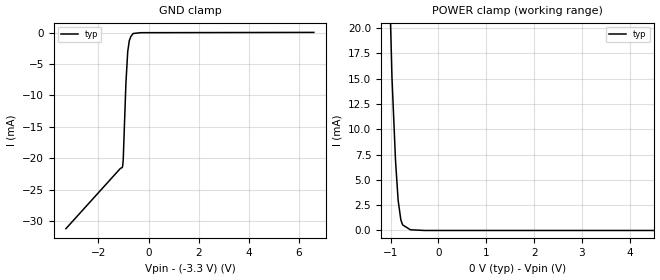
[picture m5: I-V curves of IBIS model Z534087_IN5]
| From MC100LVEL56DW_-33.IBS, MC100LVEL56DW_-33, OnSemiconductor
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| (C) COPYRIGHT 1993-2000
| MENTOR GRAPHICS CORPORATION
| ICX STANDARD LIBRARY, ICX PROJECT MODELING,
| ICX CUSTOM MODELING, ICX VENDOR MODEL
| ALL RIGHTS RESERVED.
| THE FOLLOWING ARE TRADEMARKS OR SERVICE MARKS OF
| MENTOR GRAPHICS CORPORATION:ICX (R), ICX STANDARD
| LIBRARY(R), ICX PROJECT MODELING(R), ICX CUSTOM
| MODELING(R), qualityIBIS(TM), MODELVIEWER(TM),
| AND MODELEDITOR(TM)
| ALL COPIES OF SOFTWARE, INCLUDING BUT NOT LIMITED TO
| ANY MODIFICATIONS, ENHANCEMENTS OR DERIVATIVE WORKS,
| MUST CONTAIN ALL MENTOR GRAPHICS CORPORATION'S
| NOTICES AND LEGENDS, INCLUDING THOSE EMBEDDED IN
| SOFTWARE AND THOSE AFFIXED TO SOFTWARE MEDIUM
| AND CONTAINER, AS RECEIVED FROM MENTOR GRAPHICS
| CORPORATION.
| Model Application Version 1.89 2/18/99.
[Model] Z534087_IN5
Model_type Input_ECL
Vinl = -1.900V
Vinh = -1.600V
C_comp 2.000pF NA NA
| variable typ   min   max
[Voltage Range] -3.300V NA NA
[GND Clamp Reference] -3.300V NA NA
[POWER Clamp Reference] 0.000V NA NA
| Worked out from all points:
|   GND clamp passes 1 mA (typ) near -0.74 V on its own axis
|   POWER clamp passes 1 mA (typ) near -0.78 V on its own axis
[GND Clamp]
-3.3V     -31.18mA   NA         NA
-1.13V    -21.62mA   NA         NA
-1.052V   -21.45mA   NA         NA
-1.032V   -21.17mA   NA         NA
-1.012V   -20.25mA   NA         NA
-905mV    -8.079mA   NA         NA
-832mV    -3.007mA   NA         NA
-770mV    -1.292mA   NA         NA
-712mV    -652.9uA   NA         NA
-615mV    -138.1uA   NA         NA
-307.5mV  -9.57uA    NA         NA
6.6V      35.82uA    NA         NA
[POWER Clamp]
-3.3V     1.138A     NA         NA
-1.112V   53.7mA     NA         NA
-1.021V   24.02mA    NA         NA
-971.7mV  15.2mA     NA         NA
-897.7mV  6.952mA    NA         NA
-842.5mV  2.979mA    NA         NA
-785.3mV  1.033mA    NA         NA
-747mV    544.1uA    NA         NA
-585.9mV  71.42uA    NA         NA
-293mV    0A         NA         NA
6.6V      0A         NA         NA
